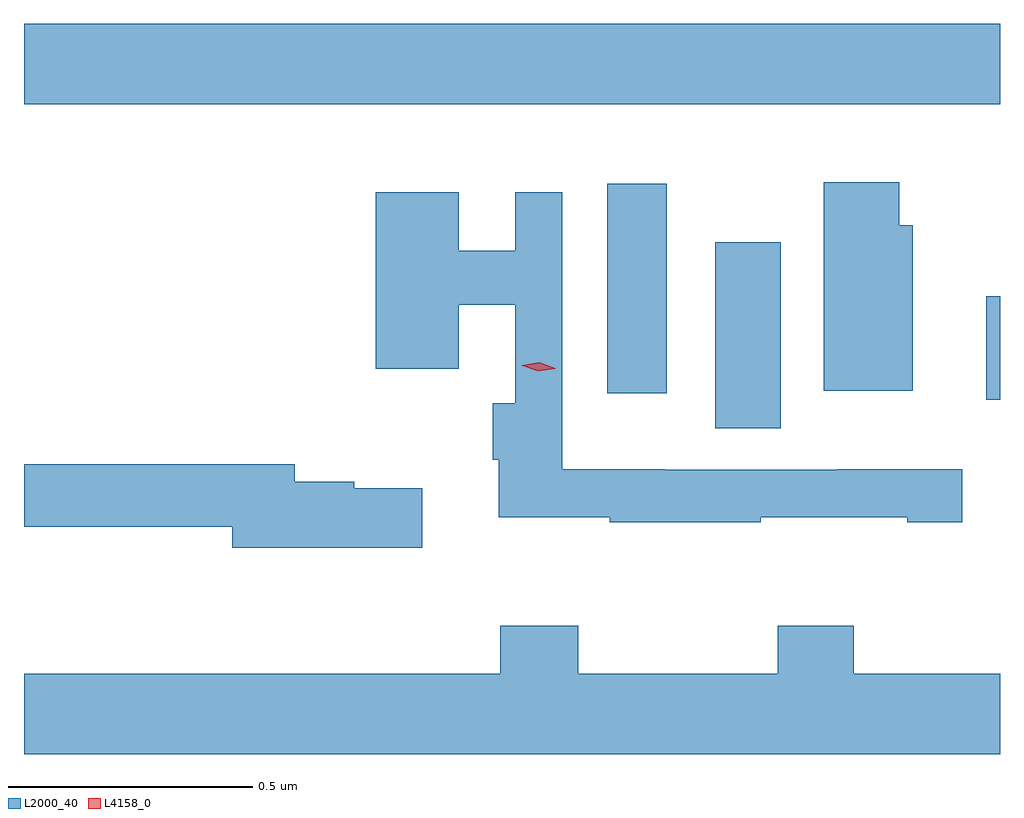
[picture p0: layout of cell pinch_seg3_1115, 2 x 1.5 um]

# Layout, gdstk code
import gdstk
lib = gdstk.Library(unit=1e-6, precision=1e-09)
def R(c, l, rs):  # rectangles x0, y0, x1, y1
    for r in rs: c.add(gdstk.rectangle(r[:2], r[2:], *l))
def P(c, l, *ps):  # polygons
    for p in ps: c.add(gdstk.Polygon(p, *l))
L2000_40 = (2000, 40)
L4158_0 = (4158, 0)

pinch_seg3_1115 = lib.new_cell('pinch_seg3_1115')
R(pinch_seg3_1115, L2000_40, [(146.936,682.936,147.07,683.317), (147.491,682.994,147.519,683.206), (146.714,683.007,146.836,683.437), (145.519,683.6,147.519,683.764)])
P(pinch_seg3_1115, L2000_40, [(147.34,683.352),(147.313,683.352),(147.313,683.44),(147.158,683.44),(147.158,683.012),(147.34,683.012)],
  [(147.029,682.753),(147.329,682.753),(147.329,682.743),(147.442,682.743),(147.442,682.852),(147.186,682.852),(147.186,682.851),(146.832,682.851),(146.832,682.852),(146.622,682.852),(146.622,683.419),(146.526,683.419),(146.526,683.299),(146.41,683.299),(146.41,683.419),(146.24,683.419),(146.24,683.058),(146.41,683.058),(146.41,683.189),(146.526,683.189),(146.526,682.987),(146.48,682.987),(146.48,682.871),(146.492,682.871),(146.492,682.753),(146.719,682.753),(146.719,682.743),(147.029,682.743)],
  [(146.335,682.813),(146.196,682.813),(146.196,682.826),(146.074,682.826),(146.074,682.862),(145.519,682.862),(145.519,682.734),(145.946,682.734),(145.946,682.691),(146.335,682.691)],
  [(147.519,682.432),(147.219,682.432),(147.219,682.531),(147.064,682.531),(147.064,682.432),(146.655,682.432),(146.655,682.531),(146.495,682.531),(146.495,682.432),(145.519,682.432),(145.519,682.268),(147.519,682.268)])
P(pinch_seg3_1115, L4158_0, [(146.573,683.052),(146.54,683.064),(146.539,683.064),(146.54,683.065),(146.575,683.071),(146.608,683.059),(146.608,683.058),(146.608,683.058)])

lib.write_gds('pinch_seg3_1115.gds')
